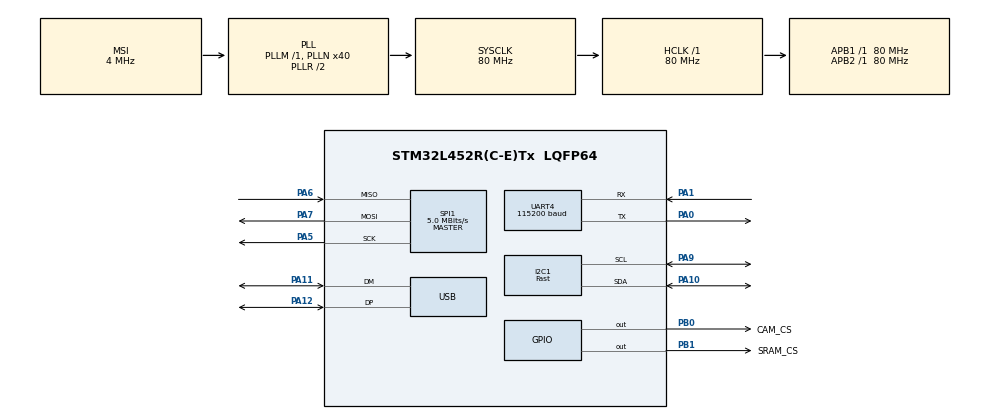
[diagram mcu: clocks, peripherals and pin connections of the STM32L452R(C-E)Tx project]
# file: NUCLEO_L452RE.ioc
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Dma.Request0=SPI1_RX
Dma.Request1=SPI1_TX
Dma.SPI1_RX.0.Direction=DMA_PERIPH_TO_MEMORY
Dma.SPI1_RX.0.Instance=DMA1_Channel2
Dma.SPI1_RX.0.MemDataAlignment=DMA_MDATAALIGN_BYTE
Dma.SPI1_RX.0.MemInc=DMA_MINC_ENABLE
Dma.SPI1_RX.0.Mode=DMA_NORMAL
Dma.SPI1_RX.0.PeriphDataAlignment=DMA_PDATAALIGN_BYTE
Dma.SPI1_RX.0.PeriphInc=DMA_PINC_DISABLE
Dma.SPI1_RX.0.Priority=DMA_PRIORITY_LOW
Dma.SPI1_TX.1.Direction=DMA_MEMORY_TO_PERIPH
Dma.SPI1_TX.1.Instance=DMA1_Channel3
Dma.SPI1_TX.1.MemDataAlignment=DMA_MDATAALIGN_BYTE
Dma.SPI1_TX.1.MemInc=DMA_MINC_ENABLE
Dma.SPI1_TX.1.Mode=DMA_NORMAL
Dma.SPI1_TX.1.PeriphDataAlignment=DMA_PDATAALIGN_BYTE
Dma.SPI1_TX.1.PeriphInc=DMA_PINC_DISABLE
Dma.SPI1_TX.1.Priority=DMA_PRIORITY_LOW
I2C1.I2C_Speed_Mode=I2C_Fast
I2C1.Timing=0x00F12981
Mcu.Family=STM32L4
Mcu.Name=STM32L452R(C-E)Tx
Mcu.Package=LQFP64
NVIC.DMA1_Channel2_IRQn=true\:0\:0\:false\:false\:true\:false\:true\:true
NVIC.DMA1_Channel3_IRQn=true\:0\:0\:false\:false\:true\:false\:true\:true
NVIC.PriorityGroup=NVIC_PRIORITYGROUP_4
NVIC.USB_IRQn=true\:0\:0\:false\:false\:true\:false\:true\:true
PA0.Mode=Asynchronous
PA0.Signal=UART4_TX
PA1.Mode=Asynchronous
PA1.Signal=UART4_RX
PA10.GPIO_Pu=GPIO_PULLUP
PA10.Mode=I2C
PA10.Signal=I2C1_SDA
PA11.Mode=Device
PA11.Signal=USB_DM
PA12.Mode=Device
PA12.Signal=USB_DP
PA13\ (JTMS/SWDIO).Mode=Serial_Wire
PA13\ (JTMS/SWDIO).Signal=SYS_JTMS-SWDIO
PA14\ (JTCK/SWCLK).Mode=Serial_Wire
PA14\ (JTCK/SWCLK).Signal=SYS_JTCK-SWCLK
PA5.Mode=Full_Duplex_Master
PA5.Signal=SPI1_SCK
PA6.Mode=Full_Duplex_Master
PA6.Signal=SPI1_MISO
PA7.Mode=Full_Duplex_Master
PA7.Signal=SPI1_MOSI
PA9.GPIO_Pu=GPIO_PULLUP
PA9.Mode=I2C
PA9.Signal=I2C1_SCL
PB0.GPIO_Label=CAM_CS
PB0.PinState=GPIO_PIN_SET
PB0.Signal=GPIO_Output
PB1.GPIO_Label=SRAM_CS
PB1.PinState=GPIO_PIN_SET
PB1.Signal=GPIO_Output
ProjectManager.HeapSize=0x200
ProjectManager.StackSize=0x400
ProjectManager.TargetToolchain=Makefile
RCC.ADCFreq_Value=48000000
RCC.AHBFreq_Value=80000000
RCC.APB1Freq_Value=80000000
RCC.APB1TimFreq_Value=80000000
RCC.APB2Freq_Value=80000000
RCC.APB2TimFreq_Value=80000000
RCC.CortexFreq_Value=80000000
RCC.HCLKFreq_Value=80000000
RCC.HSE_VALUE=8000000
RCC.HSI48_VALUE=48000000
RCC.HSI_VALUE=16000000
RCC.LSE_VALUE=32768
RCC.MSI_VALUE=4000000
RCC.PLLN=40
RCC.PLLSAI1N=24
RCC.PREFETCH_ENABLE=1
RCC.SYSCLKFreq_VALUE=80000000
RCC.SYSCLKSource=RCC_SYSCLKSOURCE_PLLCLK
RCC.USBFreq_Value=48000000
RCC.VCOOutputFreq_Value=160000000
SPI1.BaudRatePrescaler=SPI_BAUDRATEPRESCALER_16
SPI1.CalculateBaudRate=5.0 MBits/s
SPI1.DataSize=SPI_DATASIZE_8BIT
SPI1.Direction=SPI_DIRECTION_2LINES
SPI1.Mode=SPI_MODE_MASTER
SPI1.VirtualType=VM_MASTER
TIM2.Period=4294967295
TIM2.Prescaler=79
UART4.BaudRate=115200
USB_DEVICE.CLASS_NAME_FS=CDC
USB_DEVICE.VirtualMode=Cdc
USB_DEVICE.VirtualModeFS=Cdc_FS
VP_TIM2_VS_ClockSourceINT.Mode=Internal
VP_USB_DEVICE_VS_USB_DEVICE_CDC_FS.Mode=CDC_FS
board=custom

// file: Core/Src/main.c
/* USER CODE BEGIN Header */
/**
  ******************************************************************************
  * @file           : main.c
  * @brief          : Main program body
  ******************************************************************************
  * @attention
  *
  * Copyright (c) 2026 STMicroelectronics.
  * All rights reserved.
  *
  * This software is licensed under terms that can be found in the LICENSE file
  * in the root directory of this software component.
  * If no LICENSE file comes with this software, it is provided AS-IS.
  *
  ******************************************************************************
  */
/* USER CODE END Header */
#include "main.h"
#include "usb_device.h"

/* USER CODE BEGIN Includes */
#include "usbd_cdc_if.h"
#include "shell.h"
#include "vcnl4040.h"
#include "ssd1306.h"
#include "ssd1306_tests.h"
#include "oled_term.h"
#include "cam_app.h"

/* USER CODE END Includes */

I2C_HandleTypeDef hi2c1;

SPI_HandleTypeDef hspi1;
DMA_HandleTypeDef hdma_spi1_rx;
DMA_HandleTypeDef hdma_spi1_tx;

TIM_HandleTypeDef htim2;

UART_HandleTypeDef huart4;

/* USER CODE BEGIN PV */
extern USBD_HandleTypeDef hUsbDeviceFS;

/* USER CODE END PV */

void SystemClock_Config(void);
static void MX_GPIO_Init(void);
static void MX_DMA_Init(void);
static void MX_I2C1_Init(void);
static void MX_SPI1_Init(void);
static void MX_TIM2_Init(void);
static void MX_UART4_Init(void);

int main(void)
{

  /* MCU Configuration--------------------------------------------------------*/

  /* Reset of all peripherals, Initializes the Flash interface and the Systick. */
  HAL_Init();

  /* Configure the system clock */
  SystemClock_Config();

  /* Initialize all configured peripherals */
  MX_GPIO_Init();
  MX_DMA_Init();
  MX_I2C1_Init();
  MX_SPI1_Init();
  MX_TIM2_Init();
  MX_UART4_Init();
  MX_USB_DEVICE_Init();
  /* USER CODE BEGIN 2 */
  /* Devices on I2C1: VCNL4040 (0x60) and SSD1306 (0x3C). Both are optional at
   * boot - the shell reports what is missing and retries on demand. */
  /* sensor needs a few ms after power-up before it answers - retry briefly */
  for (int tries = 0; tries < 10 && VCNL4040_Init(&hi2c1) != HAL_OK; tries++) {
    HAL_Delay(10);
  }
  Camera_Init();                          /* ArduCAM Mini 2MP, 160x120 JPEG */

  if (OLEDTerm_Init()) {
    OLEDTerm_Write("ECEN-435 Lab 5\n");
    OLEDTerm_Write(VCNL4040_IsConnected() ? "VCNL4040 ok\n" : "VCNL4040 missing\n");
    OLEDTerm_Write(Camera_IsReady() ? "camera ok\n" : "camera missing\n");
    OLEDTerm_Write("USB shell ready\n");
    OLEDTerm_Flush();
  }

  Shell_Init();
  Camera_RegisterCommands();
  USBD_CDC_ReceivePacket(&hUsbDeviceFS);   /* start receiving USB packets */

  /* USER CODE END 2 */

  /* Infinite loop */
  while (1)
  {

    /* USER CODE BEGIN 3 */
    Shell_Poll();
  }
  /* USER CODE END 3 */
}

void SystemClock_Config(void)
{
  RCC_OscInitTypeDef RCC_OscInitStruct = {0};
  RCC_ClkInitTypeDef RCC_ClkInitStruct = {0};

  /** Configure the main internal regulator output voltage
  */
  if (HAL_PWREx_ControlVoltageScaling(PWR_REGULATOR_VOLTAGE_SCALE1) != HAL_OK)
  {
    Error_Handler();
  }

  /** Initializes the RCC Oscillators according to the specified parameters
  * in the RCC_OscInitTypeDef structure.
  */
  RCC_OscInitStruct.OscillatorType = RCC_OSCILLATORTYPE_MSI;
  RCC_OscInitStruct.MSIState = RCC_MSI_ON;
  RCC_OscInitStruct.MSICalibrationValue = 0;
  RCC_OscInitStruct.MSIClockRange = RCC_MSIRANGE_6;
  RCC_OscInitStruct.PLL.PLLState = RCC_PLL_ON;
  RCC_OscInitStruct.PLL.PLLSource = RCC_PLLSOURCE_MSI;
  RCC_OscInitStruct.PLL.PLLM = 1;
  RCC_OscInitStruct.PLL.PLLN = 40;
  RCC_OscInitStruct.PLL.PLLP = RCC_PLLP_DIV7;
  RCC_OscInitStruct.PLL.PLLQ = RCC_PLLQ_DIV2;
  RCC_OscInitStruct.PLL.PLLR = RCC_PLLR_DIV2;
  if (HAL_RCC_OscConfig(&RCC_OscInitStruct) != HAL_OK)
  {
    Error_Handler();
  }

  /** Initializes the CPU, AHB and APB buses clocks
  */
  RCC_ClkInitStruct.ClockType = RCC_CLOCKTYPE_HCLK|RCC_CLOCKTYPE_SYSCLK
                              |RCC_CLOCKTYPE_PCLK1|RCC_CLOCKTYPE_PCLK2;
  RCC_ClkInitStruct.SYSCLKSource = RCC_SYSCLKSOURCE_PLLCLK;
  RCC_ClkInitStruct.AHBCLKDivider = RCC_SYSCLK_DIV1;
  RCC_ClkInitStruct.APB1CLKDivider = RCC_HCLK_DIV1;
  RCC_ClkInitStruct.APB2CLKDivider = RCC_HCLK_DIV1;

  if (HAL_RCC_ClockConfig(&RCC_ClkInitStruct, FLASH_LATENCY_4) != HAL_OK)
  {
    Error_Handler();
  }
}

static void MX_I2C1_Init(void)
{

  hi2c1.Instance = I2C1;
  hi2c1.Init.Timing = 0x00F12981;
  hi2c1.Init.OwnAddress1 = 0;
  hi2c1.Init.AddressingMode = I2C_ADDRESSINGMODE_7BIT;
  hi2c1.Init.DualAddressMode = I2C_DUALADDRESS_DISABLE;
  hi2c1.Init.OwnAddress2 = 0;
  hi2c1.Init.OwnAddress2Masks = I2C_OA2_NOMASK;
  hi2c1.Init.GeneralCallMode = I2C_GENERALCALL_DISABLE;
  hi2c1.Init.NoStretchMode = I2C_NOSTRETCH_DISABLE;
  if (HAL_I2C_Init(&hi2c1) != HAL_OK)
  {
    Error_Handler();
  }

  /** Configure Analogue filter
  */
  if (HAL_I2CEx_ConfigAnalogFilter(&hi2c1, I2C_ANALOGFILTER_ENABLE) != HAL_OK)
  {
    Error_Handler();
  }

  /** Configure Digital filter
  */
  if (HAL_I2CEx_ConfigDigitalFilter(&hi2c1, 0) != HAL_OK)
  {
    Error_Handler();
  }

}

static void MX_SPI1_Init(void)
{

  /* SPI1 parameter configuration*/
  hspi1.Instance = SPI1;
  hspi1.Init.Mode = SPI_MODE_MASTER;
  hspi1.Init.Direction = SPI_DIRECTION_2LINES;
  hspi1.Init.DataSize = SPI_DATASIZE_8BIT;
  hspi1.Init.CLKPolarity = SPI_POLARITY_LOW;
  hspi1.Init.CLKPhase = SPI_PHASE_1EDGE;
  hspi1.Init.NSS = SPI_NSS_SOFT;
  hspi1.Init.BaudRatePrescaler = SPI_BAUDRATEPRESCALER_16;
  hspi1.Init.FirstBit = SPI_FIRSTBIT_MSB;
  hspi1.Init.TIMode = SPI_TIMODE_DISABLE;
  hspi1.Init.CRCCalculation = SPI_CRCCALCULATION_DISABLE;
  hspi1.Init.CRCPolynomial = 7;
  hspi1.Init.CRCLength = SPI_CRC_LENGTH_DATASIZE;
  hspi1.Init.NSSPMode = SPI_NSS_PULSE_ENABLE;
  if (HAL_SPI_Init(&hspi1) != HAL_OK)
  {
    Error_Handler();
  }

}

static void MX_TIM2_Init(void)
{

  TIM_ClockConfigTypeDef sClockSourceConfig = {0};
  TIM_MasterConfigTypeDef sMasterConfig = {0};

  htim2.Instance = TIM2;
  htim2.Init.Prescaler = 79;
  htim2.Init.CounterMode = TIM_COUNTERMODE_UP;
  htim2.Init.Period = 4294967295;
  htim2.Init.ClockDivision = TIM_CLOCKDIVISION_DIV1;
  htim2.Init.AutoReloadPreload = TIM_AUTORELOAD_PRELOAD_DISABLE;
  if (HAL_TIM_Base_Init(&htim2) != HAL_OK)
  {
    Error_Handler();
  }
  sClockSourceConfig.ClockSource = TIM_CLOCKSOURCE_INTERNAL;
  if (HAL_TIM_ConfigClockSource(&htim2, &sClockSourceConfig) != HAL_OK)
  {
    Error_Handler();
  }
  sMasterConfig.MasterOutputTrigger = TIM_TRGO_RESET;
  sMasterConfig.MasterSlaveMode = TIM_MASTERSLAVEMODE_DISABLE;
  if (HAL_TIMEx_MasterConfigSynchronization(&htim2, &sMasterConfig) != HAL_OK)
  {
    Error_Handler();
  }

}

static void MX_UART4_Init(void)
{

  huart4.Instance = UART4;
  huart4.Init.BaudRate = 115200;
  huart4.Init.WordLength = UART_WORDLENGTH_8B;
  huart4.Init.StopBits = UART_STOPBITS_1;
  huart4.Init.Parity = UART_PARITY_NONE;
  huart4.Init.Mode = UART_MODE_TX_RX;
  huart4.Init.HwFlowCtl = UART_HWCONTROL_NONE;
  huart4.Init.OverSampling = UART_OVERSAMPLING_16;
  huart4.Init.OneBitSampling = UART_ONE_BIT_SAMPLE_DISABLE;
  huart4.AdvancedInit.AdvFeatureInit = UART_ADVFEATURE_NO_INIT;
  if (HAL_UART_Init(&huart4) != HAL_OK)
  {
    Error_Handler();
  }

}

static void MX_DMA_Init(void)
{

  /* DMA controller clock enable */
  __HAL_RCC_DMA1_CLK_ENABLE();

  /* DMA interrupt init */
  /* DMA1_Channel2_IRQn interrupt configuration */
  HAL_NVIC_SetPriority(DMA1_Channel2_IRQn, 0, 0);
  HAL_NVIC_EnableIRQ(DMA1_Channel2_IRQn);
  /* DMA1_Channel3_IRQn interrupt configuration */
  HAL_NVIC_SetPriority(DMA1_Channel3_IRQn, 0, 0);
  HAL_NVIC_EnableIRQ(DMA1_Channel3_IRQn);

}

static void MX_GPIO_Init(void)
{
  GPIO_InitTypeDef GPIO_InitStruct = {0};

  /* GPIO Ports Clock Enable */
  __HAL_RCC_GPIOA_CLK_ENABLE();
  __HAL_RCC_GPIOB_CLK_ENABLE();

  /*Configure GPIO pin Output Level */
  HAL_GPIO_WritePin(GPIOB, CAM_CS_Pin|SRAM_CS_Pin, GPIO_PIN_SET);

  /*Configure GPIO pins : CAM_CS_Pin SRAM_CS_Pin */
  GPIO_InitStruct.Pin = CAM_CS_Pin|SRAM_CS_Pin;
  GPIO_InitStruct.Mode = GPIO_MODE_OUTPUT_PP;
  GPIO_InitStruct.Pull = GPIO_NOPULL;
  GPIO_InitStruct.Speed = GPIO_SPEED_FREQ_LOW;
  HAL_GPIO_Init(GPIOB, &GPIO_InitStruct);

}

void Error_Handler(void)
{
  __disable_irq();
  while (1)
  {
  }
}
